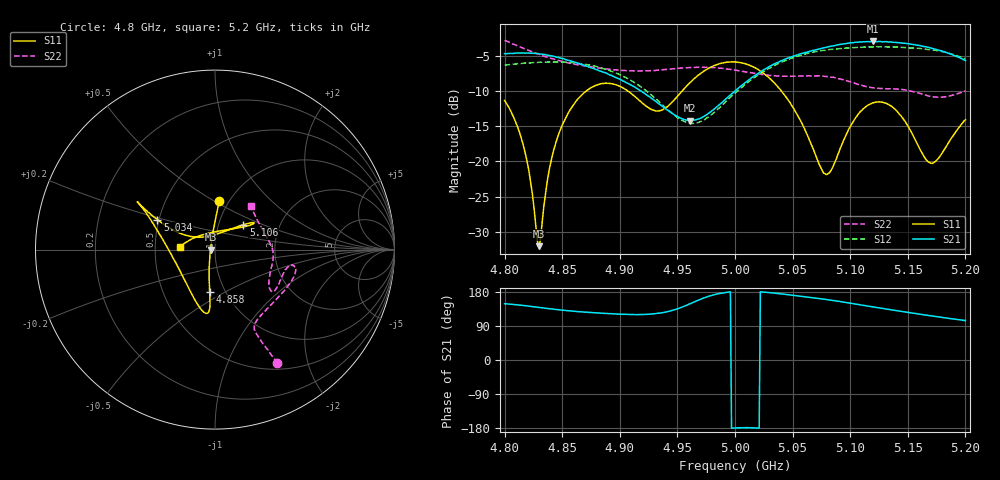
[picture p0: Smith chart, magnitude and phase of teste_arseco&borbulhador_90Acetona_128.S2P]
! Network Analyzer HP8722D
! Hewlett-Packard
! Data name: Linha & Wilkinson
! Saver's name: Rodrigo Anjos
! Comments: Teste da utilização de aquisição
! continua pelo VNA HP8722D
! Time and date: 17/4/2025 12:07
!  Frequency  S11  S21  S12  S22
# HZ  S  MA R 50
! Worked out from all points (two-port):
!   401 points, 4.8 GHz to 5.2 GHz, reference 50 ohm
!   highest |S21| = -2.98 dB at 5.12 GHz (marker M1); lowest = -14.2 dB at 4.961 GHz (marker M2)
!   |S21| within 3 dB of the highest: start of sweep to 4.862 GHz; 5.037 GHz to end of sweep
!   lowest |S11| = -32.0 dB at 4.83 GHz (marker M3), VSWR 1.05, Z = 47.6 - j0.0926 ohm
!   |S11| at or under -10 dB: start of sweep to 4.871 GHz; 4.907 GHz to 4.954 GHz (47.37 MHz wide, 0.961 % of centre); 5.04 GHz to end of sweep
!   |S22| runs from -10.9 to -2.8 dB; largest |S21 - S12| = 1.3
!   S11 on the Smith chart (normalised r, x): 4.8 GHz: 0.90, +0.53; 4.858 GHz: 0.84, -0.43; 5.034 GHz: 0.49, +0.19; 5.106 GHz: 1.31, +0.38; 5.2 GHz: 0.67, +0.02
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4.8e9  0.2706 85.0  0.5814 148.6  0.4833 -112.6  0.7213 -61.1
4.817e9  0.1228 93.2  0.5874 143.6  0.4979 -112.2  0.631 -62.1
4.823e9  0.0681 104.1  0.5855 141.5  0.5008 -111.9  0.6024 -62.7
4.828e9  0.02943 141.4  0.5822 139.6  0.5022 -111.7  0.5818 -63.1
4.83e9  0.02504 -177.8  0.5785 138.7  0.505 -111.5  0.573 -63.2
4.841e9  0.1065 -107.8  0.5607 134.5  0.508 -111.2  0.5367 -63.6
4.858e9  0.2398 -97.1  0.5134 129.3  0.5017 -111.1  0.4951 -63.8
4.867e9  0.2961 -95.4  0.4875 126.9  0.4915 -111.4  0.4799 -62.8
4.898e9  0.3465 -102.0  0.3903 121.2  0.4192 -114.8  0.4453 -54.0
4.934e9  0.2284 -155.8  0.2559 123.4  0.2661 -114.9  0.4446 -33.7
4.961e9  0.3628 158.5  0.1947 148.4  0.1867 -88.8  0.464 -19.8
5e9  0.5084 148.4  0.3161 -179.4  0.3056 -49.6  0.4439 -11.3
5.034e9  0.3621 152.5  0.491 176.6  0.4776 -46.0  0.4054 -17.6
5.052e9  0.229 155.0  0.5619 170.0  0.5498 -47.6  0.4026 -25.3
5.067e9  0.1277 147.0  0.6116 164.4  0.5949 -49.9  0.4043 -31.8
5.075e9  0.08871 125.0  0.6329 161.3  0.6106 -51.4  0.4036 -34.4
5.081e9  0.08195 96.4  0.6505 158.6  0.6199 -52.6  0.4004 -35.7
5.106e9  0.2107 41.2  0.7012 146.9  0.6433 -58.6  0.3537 -31.9
5.12e9  0.2607 35.3  0.7098 139.9  0.6487 -62.5  0.3322 -22.1
5.134e9  0.2513 34.0  0.7034 133.2  0.6479 -67.3  0.3285 -10.8
5.17e9  0.0971 99.4  0.6383 116.7  0.6202 -79.7  0.2896 19.9
5.2e9  0.1973 175.7  0.5191 104.1  0.5343 -89.8  0.3146 50.2
